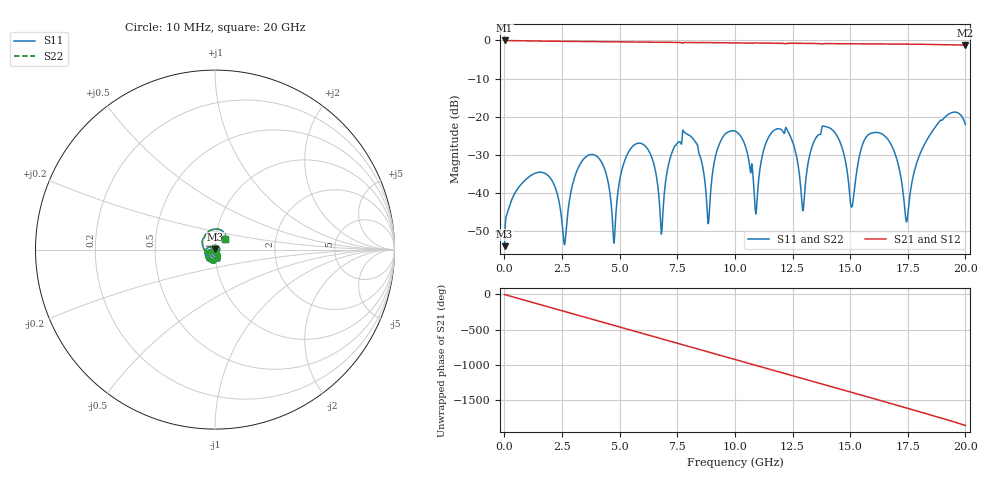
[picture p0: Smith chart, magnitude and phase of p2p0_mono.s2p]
! Stitch-density study - 40 x 12 mm symmetric stripline, cut at x=20 mm
! Case: p2p0_mono
! Sweep: 10 MHz - 20 GHz, 25 MHz step, 4 cores
# GHz S MA R 50.000000
! Terminal data exported
! Port[1] = U1.PAD1.SIG
! Port[2] = U2.PAD1.SIG
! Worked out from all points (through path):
!   801 points, 10 MHz to 20 GHz, reference 50 ohm
!   highest |S21| = -0.02 dB at 10 MHz (marker M1); lowest = -1.2 dB at 20 GHz (marker M2)
!   group delay of S21, straight-line fit = 256 ps
!   lowest |S11| = -53.9 dB at 10 MHz (marker M3), VSWR 1.00, Z = 50.2 + j0.0957 ohm
!   |S11| at or under -10 dB: start of sweep to end of sweep
!   |S22| runs from -53.9 to -18.8 dB; largest |S21 - S12| = 0
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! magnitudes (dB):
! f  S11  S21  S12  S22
! 10 MHz  -53.9  0.0  0.0  -53.9
! 1.56 GHz  -34.5  -0.2  -0.2  -34.5
! 2.61 GHz  -53.5  -0.2  -0.2  -53.5
! 3.36 GHz  -31.7  -0.3  -0.3  -31.7
! 4.235 GHz  -32.1  -0.3  -0.3  -32.1
! 4.76 GHz  -53.1  -0.4  -0.4  -53.1
! 5.66 GHz  -27.3  -0.4  -0.4  -27.3
! 6.685 GHz  -39.7  -0.5  -0.5  -39.7
! 7.835 GHz  -24.2  -0.6  -0.6  -24.2
! 8.86 GHz  -47.8  -0.6  -0.6  -47.8
! 10.01 GHz  -23.8  -0.6  -0.6  -23.8
! 10.91 GHz  -45.5  -0.7  -0.7  -45.5
! 11.66 GHz  -23.7  -0.7  -0.7  -23.7
! 12.94 GHz  -44.4  -0.8  -0.8  -44.4
! 13.36 GHz  -27.6  -0.8  -0.8  -27.6
! 14.36 GHz  -24.3  -0.8  -0.8  -24.3
! 15.09 GHz  -43.5  -0.9  -0.9  -43.5
! 15.66 GHz  -25.6  -0.9  -0.9  -25.6
! 16.68 GHz  -26.3  -1.0  -1.0  -26.3
! 17.46 GHz  -47.5  -1.0  -1.0  -47.6
! 18.51 GHz  -24.3  -1.1  -1.1  -24.3
! 20 GHz  -22.0  -1.2  -1.2  -21.9
